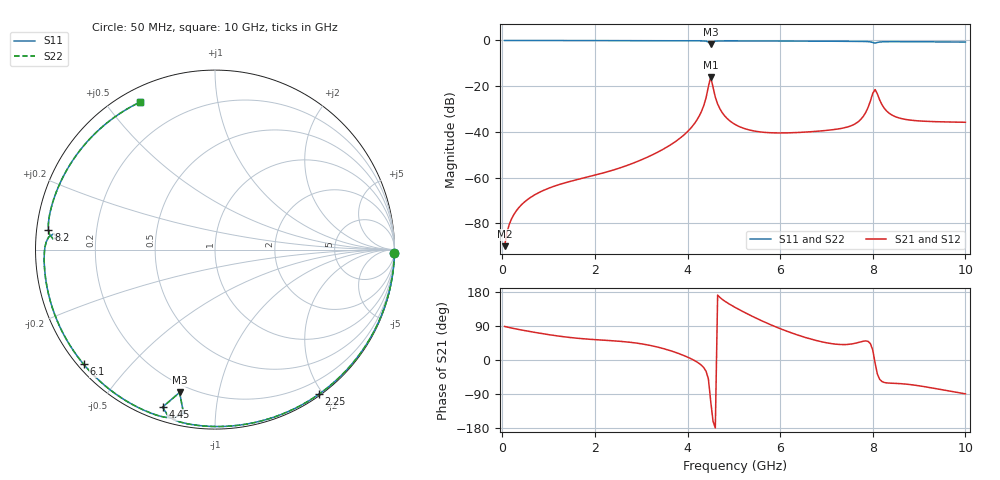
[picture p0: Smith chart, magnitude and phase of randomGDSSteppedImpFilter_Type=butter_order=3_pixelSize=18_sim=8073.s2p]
! freq	dB(S11)	phase(S11)	dB(S12)	phase(S12)
!  dB(S21)	phase(S21)	dB(S22)	phase(S22)
!S-par simulation data
#  GHz  S  DB  R 50
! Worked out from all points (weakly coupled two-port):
!   200 points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, 50 MHz to 10 GHz, reference 50 ohm
!   highest |S21| = -15.98 dB at 4.5 GHz (marker M1); lowest = -90.0 dB at 50 MHz (marker M2)
!   lowest |S11| = -1.7 dB at 4.5 GHz (marker M3), VSWR 10.12, Z = 7.92 - j38.5 ohm
!   |S11| at or under -10 dB: nowhere
!   |S22| runs from -1.7 to 0.0 dB; largest |S21 - S12| = 0
!   S11 on the Smith chart (normalised r, x): 50 MHz: 0, -92; 2.25 GHz: 0.02, -1.95; 4.45 GHz: 0.06, -0.72; 6.1 GHz: 0.02, -0.37; 8.2 GHz: 0.03, +0.06; 10 GHz: 0.06, +0.61
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0.05  -0.00 -1.2  -90.02 88.5  -90.02 88.5  -0.00 -1.2
0.15  -0.00 -3.7  -80.53 85.7  -80.53 85.7  -0.00 -3.7
0.35  -0.01 -8.7  -73.32 80.7  -73.32 80.7  -0.01 -8.7
0.7  -0.02 -17.3  -67.55 72.9  -67.55 72.9  -0.02 -17.3
1.75  -0.05 -42.6  -60.21 56.0  -60.21 56.0  -0.05 -42.6
2.25  -0.07 -54.3  -57.58 51.8  -57.58 51.8  -0.07 -54.3
3.4  -0.11 -80.7  -48.43 32.7  -48.43 32.7  -0.11 -80.7
4.15  -0.15 -97.9  -36.36 -1.4  -36.36 -1.4  -0.15 -97.9
4.35  -0.22 -103.5  -28.52 -20.0  -28.52 -20.0  -0.22 -103.5
4.45  -0.68 -108.4  -20.19 -49.8  -20.19 -49.8  -0.68 -108.4
4.5  -1.72 -103.9  -15.98 -108.2  -15.98 -108.2  -1.72 -103.9
4.7  -0.21 -107.1  -29.95 165.0  -29.95 165.0  -0.21 -107.1
5.05  -0.19 -115.7  -37.02 137.3  -37.02 137.3  -0.19 -115.7
6.1  -0.25 -138.9  -40.47 78.0  -40.47 78.0  -0.25 -138.9
6.7  -0.30 -152.3  -39.88 54.0  -39.88 54.0  -0.30 -152.4
7.65  -0.40 -175.2  -36.09 45.0  -36.09 45.0  -0.40 -175.2
7.85  -0.47 179.1  -31.42 50.4  -31.42 50.4  -0.47 179.1
8.05  -1.13 175.6  -21.49 -7.8  -21.49 -7.8  -1.13 175.6
8.2  -0.59 173.1  -28.17 -56.9  -28.17 -56.9  -0.59 173.1
8.35  -0.52 168.5  -31.78 -61.0  -31.78 -61.0  -0.52 168.5
8.8  -0.55 155.5  -34.84 -64.7  -34.84 -64.7  -0.55 155.5
10  -0.71 116.9  -35.80 -89.2  -35.80 -89.2  -0.71 116.8
